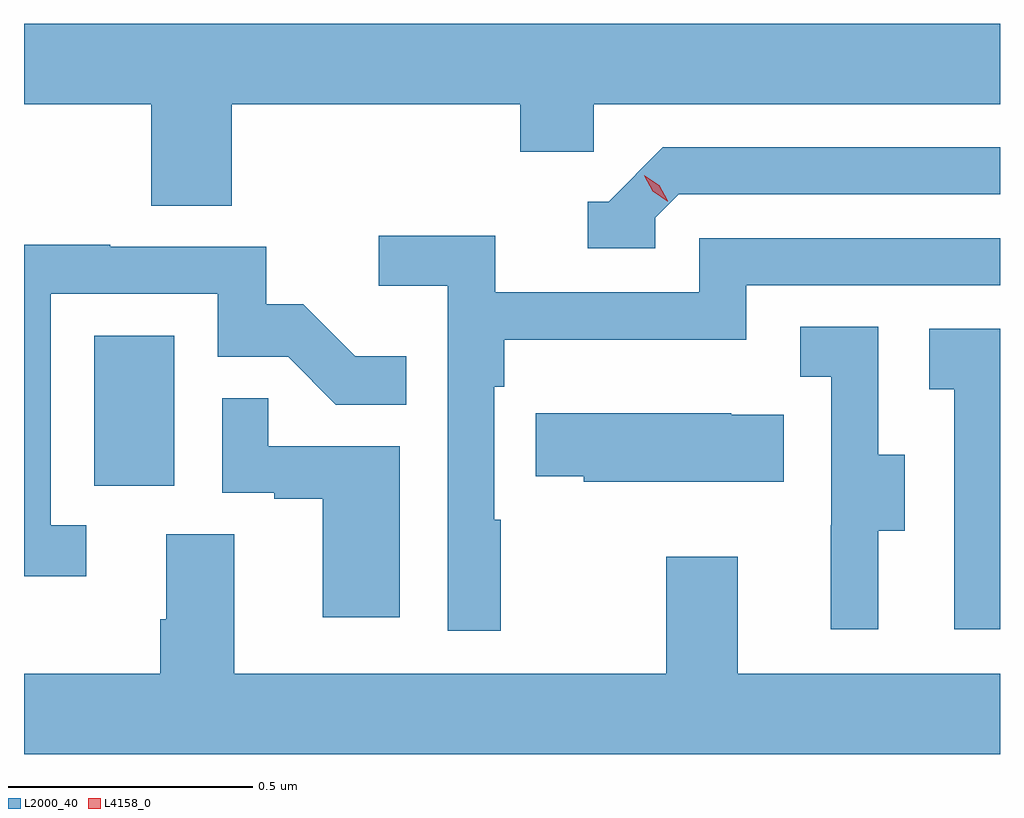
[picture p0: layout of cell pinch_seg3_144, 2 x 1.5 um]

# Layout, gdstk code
import gdstk
lib = gdstk.Library(unit=1e-6, precision=1e-09)
def R(c, l, rs):  # rectangles x0, y0, x1, y1
    for r in rs: c.add(gdstk.rectangle(r[:2], r[2:], *l))
def P(c, l, *ps):  # polygons
    for p in ps: c.add(gdstk.Polygon(p, *l))
L2000_40 = (2000, 40)
L4158_0 = (4158, 0)

pinch_seg3_144 = lib.new_cell('pinch_seg3_144')
R(pinch_seg3_144, L2000_40, [(1113.482,726.774,1113.646,727.081)])
P(pinch_seg3_144, L2000_40, [(1113.764,727.556),(1114.355,727.556),(1114.355,727.458),(1114.506,727.458),(1114.506,727.556),(1115.338,727.556),(1115.338,727.72),(1113.338,727.72),(1113.338,727.556),(1113.599,727.556),(1113.599,727.348),(1113.764,727.348)],
  [(1114.632,727.323),(1114.68,727.371),(1115.338,727.371),(1115.338,727.467),(1114.647,727.467),(1114.536,727.356),(1114.493,727.356),(1114.493,727.26),(1114.632,727.26)],
  [(1114.315,726.704),(1114.302,726.704),(1114.302,726.977),(1114.322,726.977),(1114.322,727.073),(1114.818,727.073),(1114.818,727.185),(1115.338,727.185),(1115.338,727.281),(1114.722,727.281),(1114.722,727.17),(1114.304,727.17),(1114.304,727.286),(1114.065,727.286),(1114.065,727.184),(1114.206,727.184),(1114.206,726.477),(1114.315,726.477)],
  [(1113.466,726.693),(1113.393,726.693),(1113.393,727.167),(1113.735,727.167),(1113.735,727.038),(1113.879,727.038),(1113.977,726.94),(1114.121,726.94),(1114.121,727.039),(1114.017,727.039),(1113.91,727.146),(1113.834,727.146),(1113.834,727.263),(1113.515,727.263),(1113.515,727.268),(1113.338,727.268),(1113.338,726.588),(1113.466,726.588)],
  [(1115.089,726.682),(1115.143,726.682),(1115.143,726.837),(1115.088,726.837),(1115.088,727.1),(1114.929,727.1),(1114.929,726.997),(1114.992,726.997),(1114.992,726.693),(1114.991,726.693),(1114.991,726.48),(1115.089,726.48)],
  [(1115.338,727.095),(1115.193,727.095),(1115.193,726.971),(1115.244,726.971),(1115.244,726.48),(1115.338,726.48)],
  [(1114.108,726.855),(1113.839,726.855),(1113.839,726.953),(1113.744,726.953),(1113.744,726.759),(1113.851,726.759),(1113.851,726.747),(1113.95,726.747),(1113.95,726.504),(1114.108,726.504)],
  [(1114.895,726.919),(1114.787,726.919),(1114.787,726.922),(1114.387,726.922),(1114.387,726.793),(1114.485,726.793),(1114.485,726.782),(1114.895,726.782)],
  [(1115.338,726.388),(1114.801,726.388),(1114.801,726.628),(1114.654,726.628),(1114.654,726.388),(1113.769,726.388),(1113.769,726.674),(1113.629,726.674),(1113.629,726.5),(1113.617,726.5),(1113.617,726.388),(1113.338,726.388),(1113.338,726.224),(1115.338,726.224)])
P(pinch_seg3_144, L4158_0, [(1114.656,727.357),(1114.626,727.377),(1114.609,727.409),(1114.609,727.41),(1114.609,727.41),(1114.64,727.39),(1114.657,727.358),(1114.657,727.357)])

lib.write_gds('pinch_seg3_144.gds')
